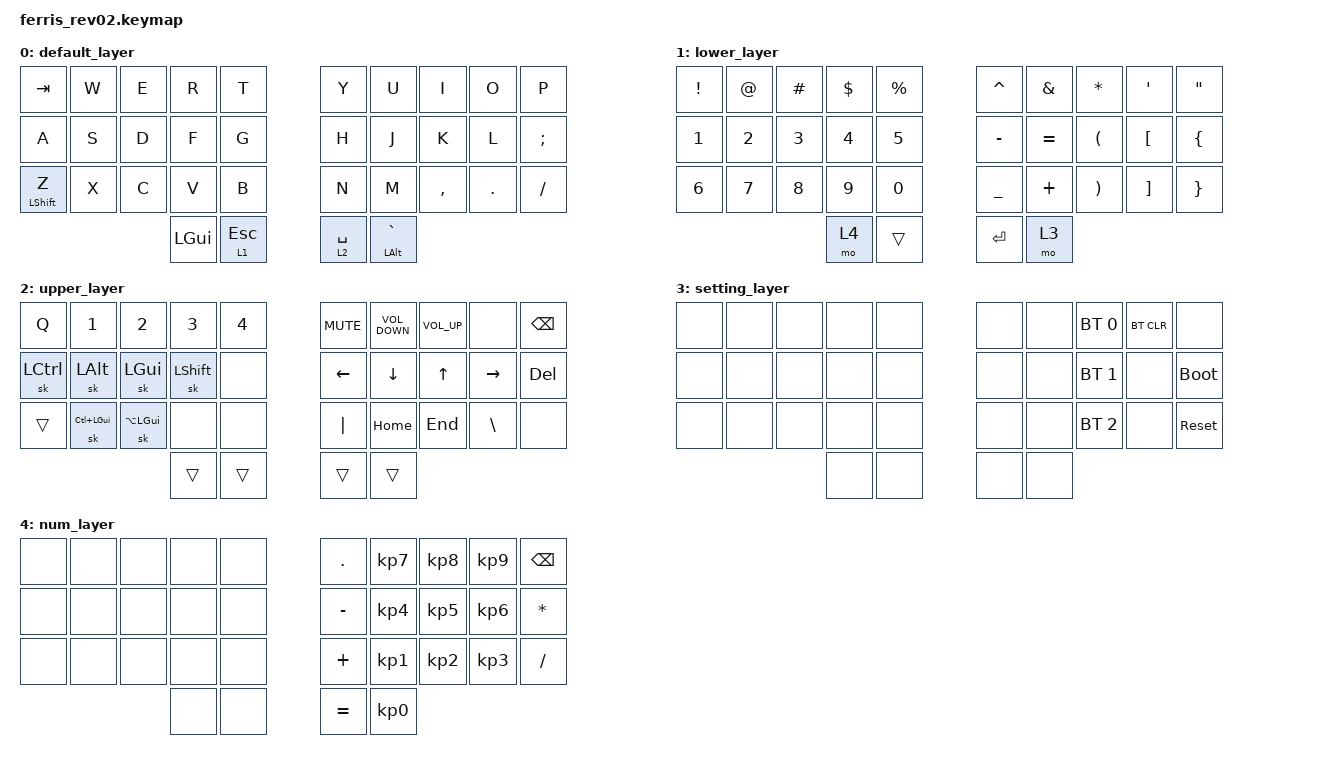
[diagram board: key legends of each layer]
/*
 * Copyright (c) 2020 The ZMK Contributors
 *
 * SPDX-License-Identifier: MIT
 */

#include <behaviors.dtsi>
#include <dt-bindings/zmk/bt.h>
#include <dt-bindings/zmk/keys.h>

#define NAV_L 1
#define OTHER_L 2
#define NUM_L 3
#define SYM_L 4

// Using layer taps on thumbs, having quick tap as well helps w/ repeating space/backspace

&lt { quick-tap-ms = <200>; };

/ {
    behaviors {
        hm: homerow_mods {
            compatible = "zmk,behavior-hold-tap";
            #binding-cells = <2>;
            tapping-term-ms = <200>;
            flavor = "tap-preferred";
            bindings = <&kp>, <&kp>;
        };
    };

    keymap {
        compatible = "zmk,keymap";

        default_layer {
            bindings = <
&kp TAB           &kp W  &kp E  &kp R         &kp T        &kp Y        &kp U           &kp I      &kp O       &kp P
&kp A             &kp S  &kp D  &kp F         &kp G        &kp H        &kp J           &kp K      &kp L       &kp SEMICOLON
&hm LEFT_SHIFT Z  &kp X  &kp C  &kp V         &kp B        &kp N        &kp M           &kp COMMA  &kp PERIOD  &kp SLASH
                                &kp LEFT_GUI  &lt 1 ESC    &lt 2 SPACE  &hm LALT GRAVE
            >;
        };

        lower_layer {
            bindings = <
&kp EXCLAMATION  &kp AT_SIGN   &kp HASH      &kp DOLLAR    &kp PERCENT    &kp CARET  &kp AMPERSAND  &kp ASTERISK           &kp SQT            &kp DOUBLE_QUOTES
&kp NUMBER_1     &kp NUMBER_2  &kp NUMBER_3  &kp NUMBER_4  &kp N5         &kp MINUS  &kp EQUAL      &kp LEFT_PARENTHESIS   &kp LEFT_BRACKET   &kp LEFT_BRACE
&kp NUMBER_6     &kp N7        &kp N8        &kp N9        &kp N0         &kp UNDER  &kp PLUS       &kp RIGHT_PARENTHESIS  &kp RIGHT_BRACKET  &kp RIGHT_BRACE
                                             &mo 4         &trans         &kp ENTER  &mo 3
            >;
        };

        upper_layer {
            bindings = <
&kp Q      &kp NUMBER_1      &kp NUMBER_2      &kp NUMBER_3    &kp NUMBER_4    &kp C_MUTE      &kp C_VOLUME_DOWN  &kp C_VOLUME_UP  &none          &kp BACKSPACE
&sk LCTRL  &sk LEFT_ALT      &sk LEFT_GUI      &sk LEFT_SHIFT  &none           &kp LEFT_ARROW  &kp DOWN           &kp UP_ARROW     &kp RIGHT      &kp DELETE
&trans     &sk LC(LEFT_GUI)  &sk LA(LEFT_GUI)  &none           &none           &kp PIPE        &kp HOME           &kp END          &kp BACKSLASH  &none
                                               &trans          &trans          &trans          &trans
            >;
        };

        setting_layer {
            bindings = <
&none  &none  &none  &none  &none    &none  &none  &bt BT_SEL 0  &bt BT_CLR  &none
&none  &none  &none  &none  &none    &none  &none  &bt BT_SEL 1  &none       &bootloader
&none  &none  &none  &none  &none    &none  &none  &bt BT_SEL 2  &none       &sys_reset
                     &none  &none    &none  &none
            >;
        };

        num_layer {
            bindings = <
&none  &none  &none  &none  &none    &kp PERIOD  &kp KP_NUMBER_7  &kp KP_NUMBER_8  &kp KP_NUMBER_9  &kp BACKSPACE
&none  &none  &none  &none  &none    &kp MINUS   &kp KP_NUMBER_4  &kp KP_NUMBER_5  &kp KP_NUMBER_6  &kp ASTERISK
&none  &none  &none  &none  &none    &kp PLUS    &kp KP_NUMBER_1  &kp KP_NUMBER_2  &kp KP_NUMBER_3  &kp SLASH
                     &none  &none    &kp EQUAL   &kp KP_NUMBER_0
            >;
        };
    };
};
